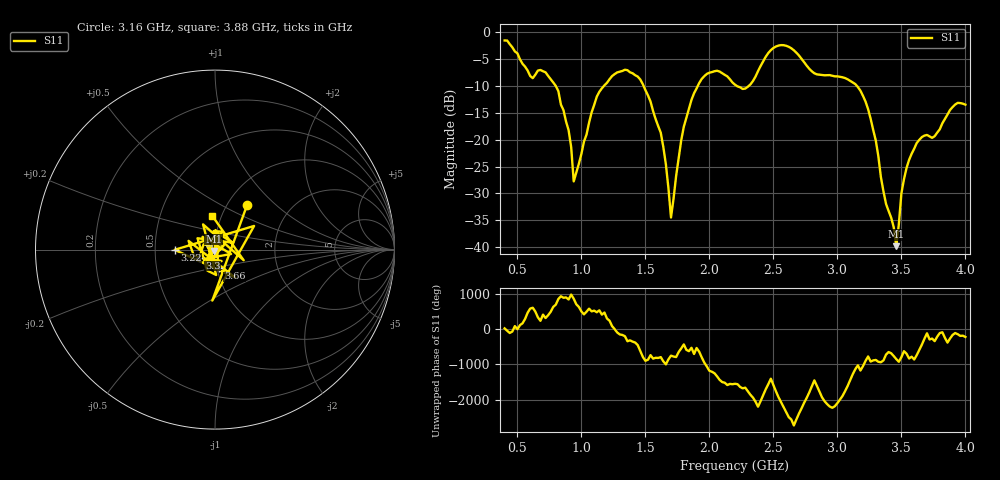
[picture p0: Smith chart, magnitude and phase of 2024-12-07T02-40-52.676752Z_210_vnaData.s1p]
!Created with skrf (http://scikit-rf.org).
# Hz S RI R 50.0
!freq ReS11 ImS11
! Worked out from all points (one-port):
!   181 points, 400 MHz to 4 GHz, reference 50 ohm
!   lowest |S11| = -39.8 dB at 3.46 GHz (marker M1), VSWR 1.02, Z = 49.4 - j0.788 ohm
!   |S11| at or under -10 dB: 798.8 MHz to 1.177 GHz (378.6 MHz wide, 38.3 % of centre); 1.485 GHz to 1.91 GHz (424.9 MHz wide, 25 % of centre); 3.151 GHz to end of sweep (the widest 3 of 4)
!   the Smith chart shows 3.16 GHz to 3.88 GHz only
!   S11 on the Smith chart (normalised r, x): 3.16 GHz: 1.23, +0.68; 3.22 GHz: 0.63, -0.00; 3.3 GHz: 0.84, -0.07; 3.66 GHz: 1.02, -0.21; 3.88 GHz: 0.90, +0.35
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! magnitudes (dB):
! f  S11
! 400 MHz  -1.6
! 620 MHz  -8.6
! 720 MHz  -7.5
! 860 MHz  -14.5
! 920 MHz  -21.4
! 940 MHz  -27.8
! 1.12 GHz  -12.0
! 1.3 GHz  -7.4
! 1.54 GHz  -12.9
! 1.64 GHz  -21.4
! 1.7 GHz  -34.5
! 1.76 GHz  -23.4
! 1.86 GHz  -12.6
! 1.94 GHz  -8.7
! 2.2 GHz  -9.8
! 2.32 GHz  -9.8
! 2.52 GHz  -2.7
! 2.66 GHz  -3.4
! 3.1 GHz  -9.1
! 3.16 GHz  -10.2
! 3.22 GHz  -13.0
! 3.3 GHz  -20.2
! 3.46 GHz  -39.8
! 3.5 GHz  -30.0
! 3.56 GHz  -23.8
! 3.66 GHz  -19.5
! 3.88 GHz  -14.5
! 4 GHz  -13.5
